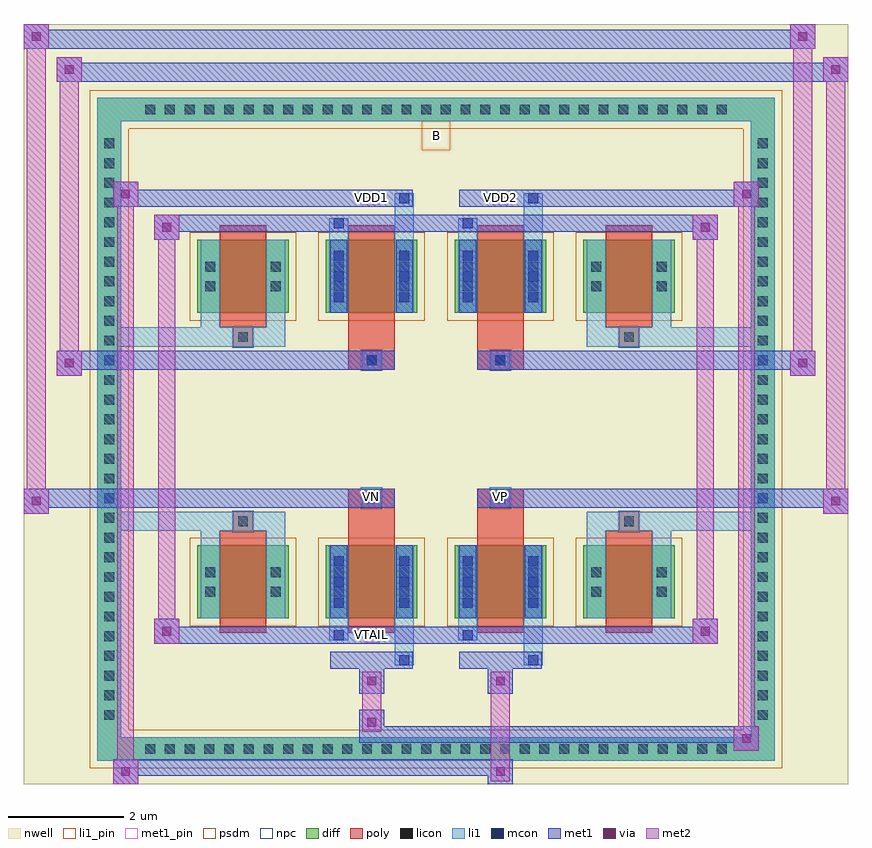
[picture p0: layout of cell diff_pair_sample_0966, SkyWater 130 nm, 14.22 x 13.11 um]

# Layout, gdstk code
import gdstk
lib = gdstk.Library(unit=1e-6, precision=5e-09)
def R(c, l, rs):  # rectangles x0, y0, x1, y1
    for r in rs: c.add(gdstk.rectangle(r[:2], r[2:], *l))
def A(c, l, x, y, w, h, nx, ny, dx, dy):  # array of equal rectangles
    R(c, l, [(x+i*dx, y+j*dy, x+i*dx+w, y+j*dy+h) for i in range(nx) for j in range(ny)])
def P(c, l, *ps):  # polygons
    for p in ps: c.add(gdstk.Polygon(p, *l))
nwell = (64, 20)
diff = (65, 20)
poly = (66, 20)
licon = (66, 44)
li1_pin = (67, 16)
li1 = (67, 20)
mcon = (67, 44)
met1_pin = (68, 16)
met1 = (68, 20)
via = (68, 44)
met2 = (69, 20)
psdm = (94, 20)
npc = (95, 20)

diff_pair_sample_0966 = lib.new_cell('diff_pair_sample_0966')
R(diff_pair_sample_0966, nwell, [(-7.11,-6.12,7.11,6.99), (-4.43,-4.31,-0.01,-0.825), (0.01,-4.31,4.43,-0.825), (-4.43,0.825,-0.01,4.31), (0.01,0.825,4.43,4.31)])
A(diff_pair_sample_0966, diff, -5.135, -5.72, 0.41, 0.41, 30, 2, 0.34, 11.03)
A(diff_pair_sample_0966, diff, -5.84, -5.135, 0.41, 0.41, 1, 30, 0, 0.34)
A(diff_pair_sample_0966, diff, 5.43, -5.135, 0.41, 0.41, 1, 30, 0, 0.34)
A(diff_pair_sample_0966, diff, -4.12, -3.265, 1.58, 1.26, 4, 2, 2.22, 5.27)
R(diff_pair_sample_0966, diff, [(-5.135,-5.72,5.135,-5.31), (-5.84,-5.135,-5.43,5.135), (5.43,-5.135,5.84,5.135), (-5.135,5.31,5.135,5.72)])
P(diff_pair_sample_0966, diff, [(5.84,5.72),(-5.84,5.72),(-5.84,-5.31),(-5.43,-5.31),(-5.43,5.31),(5.43,5.31),(5.43,-5.31),(-5.43,-5.31),(-5.84,-5.31),(-5.84,-5.72),(5.84,-5.72)])
A(diff_pair_sample_0966, poly, -3.73, -3.515, 0.8, 1.76, 4, 2, 2.22, 5.27)
R(diff_pair_sample_0966, poly, [(-3.495,-1.755,-3.165,-1.425), (-3.495,-1.755,-3.165,-1.425), (-1.51,-1.755,-0.71,-1.355), (0.71,-1.755,1.51,-1.355), (3.165,-1.755,3.495,-1.425), (3.165,-1.755,3.495,-1.425), (-1.51,-1.355,-0.71,-1.025), (-1.275,-1.355,-0.945,-1.025), (0.71,-1.355,1.51,-1.025), (0.945,-1.355,1.275,-1.025), (-1.51,1.025,-0.71,1.355), (-1.275,1.025,-0.945,1.355), (0.71,1.025,1.51,1.355), (0.945,1.025,1.275,1.355), (-1.51,1.355,-0.71,1.755), (0.71,1.355,1.51,1.755), (-3.495,1.425,-3.165,1.755), (-3.495,1.425,-3.165,1.755), (3.165,1.425,3.495,1.755), (3.165,1.425,3.495,1.755)])
A(diff_pair_sample_0966, licon, -5.015, -5.6, 0.17, 0.17, 30, 2, 0.34, 11.03)
A(diff_pair_sample_0966, licon, -5.72, -5.015, 0.17, 0.17, 1, 30, 0, 0.34)
A(diff_pair_sample_0966, licon, 5.55, -5.015, 0.17, 0.17, 1, 30, 0, 0.34)
R(diff_pair_sample_0966, licon, [(-3.98,-2.89,-3.81,-2.72), (-2.85,-2.89,-2.68,-2.72), (-1.76,-2.89,-1.59,-2.72), (-0.63,-2.89,-0.46,-2.72), (0.46,-2.89,0.63,-2.72), (1.59,-2.89,1.76,-2.72), (2.68,-2.89,2.85,-2.72), (3.81,-2.89,3.98,-2.72), (-3.98,-2.55,-3.81,-2.38), (-2.85,-2.55,-2.68,-2.38), (-1.76,-2.55,-1.59,-2.38), (-0.63,-2.55,-0.46,-2.38), (0.46,-2.55,0.63,-2.38), (1.59,-2.55,1.76,-2.38), (2.68,-2.55,2.85,-2.38), (3.81,-2.55,3.98,-2.38), (-3.415,-1.675,-3.245,-1.505), (3.245,-1.675,3.415,-1.505), (-1.195,-1.275,-1.025,-1.105), (1.025,-1.275,1.195,-1.105), (-1.195,1.105,-1.025,1.275), (1.025,1.105,1.195,1.275), (-3.415,1.505,-3.245,1.675), (3.245,1.505,3.415,1.675), (-3.98,2.38,-3.81,2.55), (-2.85,2.38,-2.68,2.55), (-1.76,2.38,-1.59,2.55), (-0.63,2.38,-0.46,2.55), (0.46,2.38,0.63,2.55), (1.59,2.38,1.76,2.55), (2.68,2.38,2.85,2.55), (3.81,2.38,3.98,2.55), (-3.98,2.72,-3.81,2.89), (-2.85,2.72,-2.68,2.89), (-1.76,2.72,-1.59,2.89), (-0.63,2.72,-0.46,2.89), (0.46,2.72,0.63,2.89), (1.59,2.72,1.76,2.89), (2.68,2.72,2.85,2.89), (3.81,2.72,3.98,2.89)])
R(diff_pair_sample_0966, li1_pin, [(-0.25,4.81,0.25,5.31)])
A(diff_pair_sample_0966, li1, -5.095, -5.68, 0.33, 0.33, 30, 2, 0.34, 11.03)
A(diff_pair_sample_0966, li1, -5.8, -5.095, 0.33, 0.33, 1, 30, 0, 0.34)
A(diff_pair_sample_0966, li1, 5.47, -5.095, 0.33, 0.33, 1, 30, 0, 0.34)
A(diff_pair_sample_0966, li1, -1.76, -3.08, 0.17, 0.17, 1, 3, 0, 0.36)
A(diff_pair_sample_0966, li1, -0.63, -3.08, 0.17, 0.17, 1, 3, 0, 0.36)
A(diff_pair_sample_0966, li1, 0.46, -3.08, 0.17, 0.17, 1, 3, 0, 0.36)
A(diff_pair_sample_0966, li1, 1.59, -3.08, 0.17, 0.17, 1, 3, 0, 0.36)
A(diff_pair_sample_0966, li1, -1.76, 2.19, 0.17, 0.17, 1, 3, 0, 0.36)
A(diff_pair_sample_0966, li1, -0.63, 2.19, 0.17, 0.17, 1, 3, 0, 0.36)
A(diff_pair_sample_0966, li1, 0.46, 2.19, 0.17, 0.17, 1, 3, 0, 0.36)
A(diff_pair_sample_0966, li1, 1.59, 2.19, 0.17, 0.17, 1, 3, 0, 0.36)
R(diff_pair_sample_0966, li1, [(-5.84,-5.72,-5.43,-5.31), (-5.84,-5.72,-5.43,-5.31), (-5.43,-5.72,5.43,-5.31), (5.43,-5.72,5.84,-5.31), (5.43,-5.72,5.84,-5.31), (-5.84,-5.31,-5.43,5.31), (5.43,-5.31,5.84,5.31), (-0.71,-4.07,-0.38,-3.265), (-0.63,-4.07,-0.46,-3.9), (1.51,-4.07,1.84,-3.265), (1.59,-4.07,1.76,-3.9), (-1.84,-3.64,-1.51,-3.265), (-1.76,-3.64,-1.59,-3.47), (0.38,-3.64,0.71,-3.265), (0.46,-3.64,0.63,-3.47), (-4.06,-3.265,-3.73,-2.005), (-2.93,-3.265,-2.6,-2.005), (-1.84,-3.265,-1.51,-2.005), (-0.71,-3.265,-0.38,-2.005), (0.38,-3.265,0.71,-2.005), (1.51,-3.265,1.84,-2.005), (2.6,-3.265,2.93,-2.005), (3.73,-3.265,4.06,-2.005), (-1.76,-3.08,-1.59,-2.19), (-0.63,-3.08,-0.46,-2.19), (0.46,-3.08,0.63,-2.19), (1.59,-3.08,1.76,-2.19), (-4.06,-2.97,-3.73,-2.64), (-2.93,-2.97,-2.6,-2.64), (-1.84,-2.97,-1.51,-2.64), (-0.71,-2.97,-0.38,-2.64), (0.38,-2.97,0.71,-2.64), (1.51,-2.97,1.84,-2.64), (2.6,-2.97,2.93,-2.64), (3.73,-2.97,4.06,-2.64), (-4.06,-2.63,-3.73,-2.3), (-2.93,-2.63,-2.6,-2.3), (-1.84,-2.63,-1.51,-2.3), (-0.71,-2.63,-0.38,-2.3), (0.38,-2.63,0.71,-2.3), (1.51,-2.63,1.84,-2.3), (2.6,-2.63,2.93,-2.3), (3.73,-2.63,4.06,-2.3), (-4.06,-2.005,-3.73,-1.425), (-2.93,-2.005,-2.6,-1.425), (2.6,-2.005,2.93,-1.425), (3.73,-2.005,4.06,-1.425), (-5.84,-1.755,-3.495,-1.425), (-4.06,-1.755,-3.495,-1.425), (-3.495,-1.755,-3.165,-1.425), (-3.165,-1.755,-2.6,-1.425), (2.6,-1.755,3.165,-1.425), (3.165,-1.755,3.495,-1.425), (3.165,-1.755,5.84,-1.425), (3.495,-1.755,4.06,-1.425), (-1.275,-1.355,-0.945,-1.025), (0.945,-1.355,1.275,-1.025), (-1.275,1.025,-0.945,1.355), (0.945,1.025,1.275,1.355), (-5.84,1.425,-3.495,1.755), (-4.06,1.425,-3.495,1.755), (-4.06,1.425,-3.73,2.005), (-3.495,1.425,-3.165,1.755), (-3.165,1.425,-2.6,1.755), (-2.93,1.425,-2.6,2.005), (2.6,1.425,3.165,1.755), (2.6,1.425,2.93,2.005), (3.165,1.425,3.495,1.755), (3.165,1.425,5.84,1.755), (3.495,1.425,4.06,1.755), (3.73,1.425,4.06,2.005), (-4.06,2.005,-3.73,3.265), (-2.93,2.005,-2.6,3.265), (-1.84,2.005,-1.51,3.265), (-0.71,2.005,-0.38,3.265), (0.38,2.005,0.71,3.265), (1.51,2.005,1.84,3.265), (2.6,2.005,2.93,3.265), (3.73,2.005,4.06,3.265), (-1.76,2.19,-1.59,3.08), (-0.63,2.19,-0.46,3.08), (0.46,2.19,0.63,3.08), (1.59,2.19,1.76,3.08), (-4.06,2.3,-3.73,2.63), (-2.93,2.3,-2.6,2.63), (-1.84,2.3,-1.51,2.63), (-0.71,2.3,-0.38,2.63), (0.38,2.3,0.71,2.63), (1.51,2.3,1.84,2.63), (2.6,2.3,2.93,2.63), (3.73,2.3,4.06,2.63), (-4.06,2.64,-3.73,2.97), (-2.93,2.64,-2.6,2.97), (-1.84,2.64,-1.51,2.97), (-0.71,2.64,-0.38,2.97), (0.38,2.64,0.71,2.97), (1.51,2.64,1.84,2.97), (2.6,2.64,2.93,2.97), (3.73,2.64,4.06,2.97), (-1.84,3.265,-1.51,3.64), (-0.71,3.265,-0.38,4.07), (0.38,3.265,0.71,3.64), (1.51,3.265,1.84,4.07), (-1.76,3.47,-1.59,3.64), (0.46,3.47,0.63,3.64), (-0.63,3.9,-0.46,4.07), (1.59,3.9,1.76,4.07), (-5.84,5.31,-5.43,5.72), (-5.84,5.31,-5.43,5.72), (-5.43,5.31,5.43,5.72), (5.43,5.31,5.84,5.72), (5.43,5.31,5.84,5.72)])
A(diff_pair_sample_0966, mcon, -1.76, -3.08, 0.17, 0.17, 1, 3, 0, 0.36)
A(diff_pair_sample_0966, mcon, -0.63, -3.08, 0.17, 0.17, 1, 3, 0, 0.36)
A(diff_pair_sample_0966, mcon, 0.46, -3.08, 0.17, 0.17, 1, 3, 0, 0.36)
A(diff_pair_sample_0966, mcon, 1.59, -3.08, 0.17, 0.17, 1, 3, 0, 0.36)
A(diff_pair_sample_0966, mcon, -1.76, 2.19, 0.17, 0.17, 1, 3, 0, 0.36)
A(diff_pair_sample_0966, mcon, -0.63, 2.19, 0.17, 0.17, 1, 3, 0, 0.36)
A(diff_pair_sample_0966, mcon, 0.46, 2.19, 0.17, 0.17, 1, 3, 0, 0.36)
A(diff_pair_sample_0966, mcon, 1.59, 2.19, 0.17, 0.17, 1, 3, 0, 0.36)
R(diff_pair_sample_0966, mcon, [(-0.63,-4.07,-0.46,-3.9), (1.59,-4.07,1.76,-3.9), (-1.76,-3.64,-1.59,-3.47), (0.46,-3.64,0.63,-3.47), (-1.195,-1.275,-1.025,-1.105), (1.025,-1.275,1.195,-1.105), (-1.195,1.105,-1.025,1.275), (1.025,1.105,1.195,1.275), (-1.76,3.47,-1.59,3.64), (0.46,3.47,0.63,3.64), (-0.63,3.9,-0.46,4.07), (1.59,3.9,1.76,4.07)])
R(diff_pair_sample_0966, met1_pin, [(-1.245,-3.68,-0.975,-3.41), (-1.245,-1.295,-0.975,-1.025), (0.975,-1.295,1.245,-1.025), (-1.245,3.86,-0.975,4.13), (0.975,3.86,1.245,4.13)])
A(diff_pair_sample_0966, met1, -1.82, -3.14, 0.29, 0.29, 1, 3, 0, 0.36)
A(diff_pair_sample_0966, met1, -0.69, -3.14, 0.29, 0.29, 1, 3, 0, 0.36)
A(diff_pair_sample_0966, met1, 0.4, -3.14, 0.29, 0.29, 1, 3, 0, 0.36)
A(diff_pair_sample_0966, met1, 1.53, -3.14, 0.29, 0.29, 1, 3, 0, 0.36)
A(diff_pair_sample_0966, met1, -1.82, 2.13, 0.29, 0.29, 1, 3, 0, 0.36)
A(diff_pair_sample_0966, met1, -0.69, 2.13, 0.29, 0.29, 1, 3, 0, 0.36)
A(diff_pair_sample_0966, met1, 0.4, 2.13, 0.29, 0.29, 1, 3, 0, 0.36)
A(diff_pair_sample_0966, met1, 1.53, 2.13, 0.29, 0.29, 1, 3, 0, 0.36)
R(diff_pair_sample_0966, met1, [(-5.57,-6.12,-5.14,-5.69), (0.895,-6.12,1.325,-5.69), (-5.57,-5.98,1.325,-5.69), (5.14,-5.55,5.57,-5.12), (-1.325,-5.41,5.57,-5.12), (-1.325,-5.27,-0.895,-4.84), (-1.325,-4.56,-0.895,-4.13), (0.895,-4.56,1.325,-4.13), (-1.82,-4.13,-0.4,-3.84), (-0.69,-4.13,-0.4,-3.84), (0.4,-4.13,1.82,-3.84), (1.53,-4.13,1.82,-3.84), (-4.86,-3.7,-4.43,-3.27), (-4.86,-3.7,-1.82,-3.41), (-1.82,-3.7,-1.53,-3.41), (-1.82,-3.7,-0.4,-3.41), (-0.4,-3.7,0.4,-3.41), (0.4,-3.7,0.69,-3.41), (0.4,-3.7,1.82,-3.41), (1.82,-3.7,4.86,-3.41), (4.43,-3.7,4.86,-3.27), (-1.82,-3.265,-1.53,-2.005), (-0.69,-3.265,-0.4,-2.005), (0.4,-3.265,0.69,-2.005), (1.53,-3.265,1.82,-2.005), (-7.11,-1.455,-6.68,-1.025), (6.68,-1.455,7.11,-1.025), (-7.11,-1.355,-0.71,-1.025), (-1.51,-1.355,-0.71,-1.025), (0.71,-1.355,1.51,-1.025), (0.71,-1.355,7.11,-1.025), (-1.255,-1.335,-0.965,-1.045), (0.965,-1.335,1.255,-1.045), (-6.54,0.925,-6.11,1.355), (6.11,0.925,6.54,1.355), (-6.54,1.025,-1.51,1.355), (-1.51,1.025,-0.71,1.355), (0.71,1.025,1.51,1.355), (1.51,1.025,6.54,1.355), (-1.255,1.045,-0.965,1.335), (0.965,1.045,1.255,1.335), (-1.82,2.005,-1.53,3.265), (-0.69,2.005,-0.4,3.265), (0.4,2.005,0.69,3.265), (1.53,2.005,1.82,3.265), (-4.86,3.27,-4.43,3.7), (4.43,3.27,4.86,3.7), (-4.86,3.41,-1.82,3.7), (-1.82,3.41,-1.53,3.7), (-1.82,3.41,-0.4,3.7), (-0.4,3.41,0.4,3.7), (0.4,3.41,0.69,3.7), (0.4,3.41,1.82,3.7), (1.82,3.41,4.86,3.7), (-5.57,3.84,-5.14,4.27), (-5.57,3.84,-1.82,4.13), (-1.82,3.84,-0.4,4.13), (-0.69,3.84,-0.4,4.13), (0.4,3.84,1.82,4.13), (1.53,3.84,1.82,4.13), (1.82,3.84,5.57,4.13), (5.14,3.84,5.57,4.27), (-6.54,5.99,-6.11,6.42), (-6.54,5.99,-4.43,6.32), (-4.43,5.99,4.43,6.32), (4.43,5.99,7.11,6.32), (6.68,5.99,7.11,6.42), (-7.11,6.56,-6.68,6.99), (-7.11,6.56,-4.43,6.89), (-4.43,6.56,4.43,6.89), (4.43,6.56,6.54,6.89), (6.11,6.56,6.54,6.99)])
R(diff_pair_sample_0966, via, [(-5.43,-5.98,-5.28,-5.83), (1.035,-5.98,1.185,-5.83), (5.28,-5.41,5.43,-5.26), (-1.185,-5.13,-1.035,-4.98), (-1.185,-4.42,-1.035,-4.27), (1.035,-4.42,1.185,-4.27), (-4.72,-3.56,-4.57,-3.41), (4.57,-3.56,4.72,-3.41), (-6.97,-1.315,-6.82,-1.165), (6.82,-1.315,6.97,-1.165), (-6.4,1.065,-6.25,1.215), (6.25,1.065,6.4,1.215), (-4.72,3.41,-4.57,3.56), (4.57,3.41,4.72,3.56), (-5.43,3.98,-5.28,4.13), (5.28,3.98,5.43,4.13), (-6.4,6.13,-6.25,6.28), (6.82,6.13,6.97,6.28), (-6.97,6.7,-6.82,6.85), (6.25,6.7,6.4,6.85)])
R(diff_pair_sample_0966, met2, [(-5.57,-6.12,-5.14,-5.69), (-5.5,-6.12,-5.21,4.27), (-5.21,-6.12,-5.14,-5.69), (-5.52,-6.07,-5.19,-5.74), (0.945,-6.07,1.275,-5.74), (0.945,-5.74,1.275,-4.51), (5.14,-5.55,5.57,-5.12), (5.21,-5.55,5.5,4.27), (5.5,-5.55,5.57,-5.12), (5.19,-5.5,5.52,-5.17), (-1.275,-5.22,-0.945,-4.89), (-1.275,-4.89,-0.945,-4.51), (-1.275,-4.51,-0.945,-4.18), (0.945,-4.51,1.275,-4.18), (-4.86,-3.7,-4.43,-3.27), (-4.79,-3.7,-4.5,3.7), (-4.5,-3.7,-4.43,-3.27), (4.43,-3.7,4.86,-3.27), (4.5,-3.7,4.79,3.7), (4.79,-3.7,4.86,-3.27), (-4.81,-3.65,-4.48,-3.32), (4.48,-3.65,4.81,-3.32), (-7.11,-1.455,-6.68,-1.025), (-7.06,-1.455,-6.73,6.99), (-6.73,-1.455,-6.68,-1.025), (6.68,-1.455,7.11,-1.025), (6.73,-1.455,7.06,6.42), (7.06,-1.455,7.11,-1.025), (-7.06,-1.405,-6.73,-1.075), (6.73,-1.405,7.06,-1.075), (-6.54,0.925,-6.11,1.355), (-6.49,0.925,-6.16,6.42), (-6.16,0.925,-6.11,1.355), (6.11,0.925,6.54,1.355), (6.16,0.925,6.49,6.99), (6.49,0.925,6.54,1.355), (-6.49,0.975,-6.16,1.305), (6.16,0.975,6.49,1.305), (-4.86,3.27,-4.43,3.7), (-4.5,3.27,-4.43,3.7), (4.43,3.27,4.86,3.7), (4.79,3.27,4.86,3.7), (-4.81,3.32,-4.48,3.65), (4.48,3.32,4.81,3.65), (-5.57,3.84,-5.14,4.27), (-5.21,3.84,-5.14,4.27), (5.14,3.84,5.57,4.27), (5.5,3.84,5.57,4.27), (-5.52,3.89,-5.19,4.22), (5.19,3.89,5.52,4.22), (-6.54,5.99,-6.11,6.42), (-6.16,5.99,-6.11,6.42), (6.68,5.99,7.11,6.42), (7.06,5.99,7.11,6.42), (-6.49,6.04,-6.16,6.37), (6.73,6.04,7.06,6.37), (-7.11,6.56,-6.68,6.99), (-6.73,6.56,-6.68,6.99), (6.11,6.56,6.54,6.99), (6.49,6.56,6.54,6.99), (-7.06,6.61,-6.73,6.94), (6.16,6.61,6.49,6.94)])
A(diff_pair_sample_0966, psdm, -4.25, -3.395, 1.84, 1.52, 4, 2, 2.22, 5.27)
P(diff_pair_sample_0966, psdm, [(5.97,5.85),(-5.97,5.85),(-5.97,-5.18),(-5.3,-5.18),(-5.3,5.18),(5.3,5.18),(5.3,-5.18),(-5.3,-5.18),(-5.97,-5.18),(-5.97,-5.85),(5.97,-5.85)])
R(diff_pair_sample_0966, npc, [(-3.515,-1.775,-3.145,-1.405), (3.145,-1.775,3.515,-1.405), (-1.295,-1.375,-0.925,-1.005), (0.925,-1.375,1.295,-1.005), (-1.295,1.005,-0.925,1.375), (0.925,1.005,1.295,1.375), (-3.515,1.405,-3.145,1.775), (3.145,1.405,3.515,1.775)])
diff_pair_sample_0966.add(gdstk.Label('VTAIL', (-1.11,-3.545), layer=68, texttype=5))
diff_pair_sample_0966.add(gdstk.Label('VN', (-1.11,-1.16), layer=68, texttype=5))
diff_pair_sample_0966.add(gdstk.Label('VP', (1.11,-1.16), layer=68, texttype=5))
diff_pair_sample_0966.add(gdstk.Label('B', (0,5.06), layer=67, texttype=5))
diff_pair_sample_0966.add(gdstk.Label('VDD2', (1.11,3.995), layer=68, texttype=5))
diff_pair_sample_0966.add(gdstk.Label('VDD1', (-1.11,3.995), layer=68, texttype=5))

lib.write_gds('diff_pair_sample_0966.gds')
